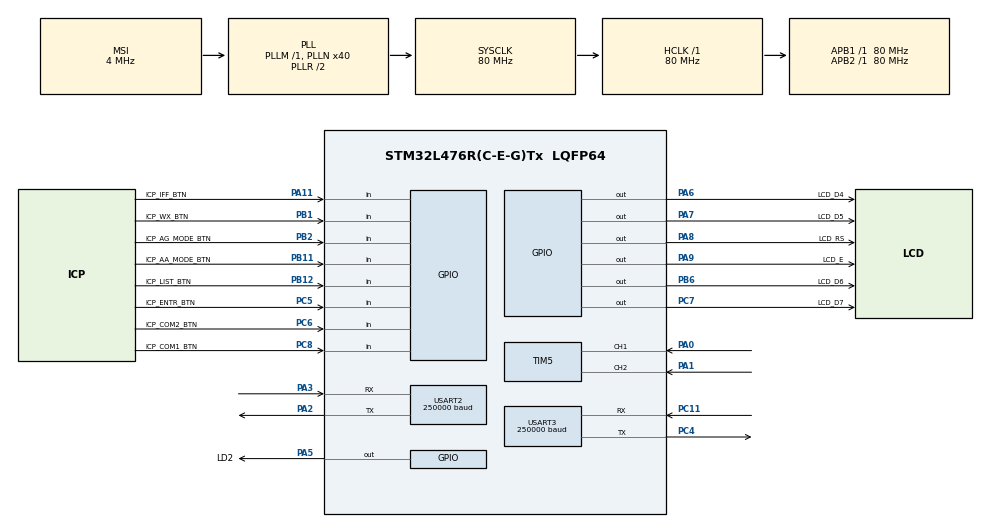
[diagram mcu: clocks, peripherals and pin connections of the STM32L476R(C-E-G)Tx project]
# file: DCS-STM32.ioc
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Mcu.Family=STM32L4
Mcu.Name=STM32L476R(C-E-G)Tx
Mcu.Package=LQFP64
NVIC.PriorityGroup=NVIC_PRIORITYGROUP_4
NVIC.USART2_IRQn=true\:0\:0\:false\:false\:true\:true\:true\:true
PA0.Signal=S_TIM5_CH1
PA1.Signal=S_TIM5_CH2
PA11.GPIO_Label=ICP_IFF_BTN
PA11.GPIO_PuPd=GPIO_PULLUP
PA11.Signal=GPIO_Input
PA2.Mode=Asynchronous
PA2.Signal=USART2_TX
PA3.Mode=Asynchronous
PA3.Signal=USART2_RX
PA5.GPIO_Label=LD2
PA5.PinState=GPIO_PIN_RESET
PA5.Signal=GPIO_Output
PA6.GPIO_Label=LCD_D4
PA6.Signal=GPIO_Output
PA7.GPIO_Label=LCD_D5
PA7.Signal=GPIO_Output
PA8.GPIO_Label=LCD_RS
PA8.Signal=GPIO_Output
PA9.GPIO_Label=LCD_E
PA9.Signal=GPIO_Output
PB1.GPIO_Label=ICP_WX_BTN
PB1.GPIO_PuPd=GPIO_PULLUP
PB1.Signal=GPIO_Input
PB11.GPIO_Label=ICP_AA_MODE_BTN
PB11.GPIO_PuPd=GPIO_PULLUP
PB11.Signal=GPIO_Input
PB12.GPIO_Label=ICP_LIST_BTN
PB12.GPIO_PuPd=GPIO_PULLUP
PB12.Signal=GPIO_Input
PB2.GPIO_Label=ICP_AG_MODE_BTN
PB2.GPIO_PuPd=GPIO_PULLUP
PB2.Signal=GPIO_Input
PB6.GPIO_Label=LCD_D6
PB6.Signal=GPIO_Output
PC11.Mode=Asynchronous
PC11.Signal=USART3_RX
PC4.Mode=Asynchronous
PC4.Signal=USART3_TX
PC5.GPIO_Label=ICP_ENTR_BTN
PC5.GPIO_PuPd=GPIO_PULLUP
PC5.Signal=GPIO_Input
PC6.GPIO_Label=ICP_COM2_BTN
PC6.GPIO_PuPd=GPIO_PULLUP
PC6.Signal=GPIO_Input
PC7.GPIO_Label=LCD_D7
PC7.Signal=GPIO_Output
PC8.GPIO_Label=ICP_COM1_BTN
PC8.GPIO_PuPd=GPIO_PULLUP
PC8.Signal=GPIO_Input
ProjectManager.HeapSize=0x200
ProjectManager.StackSize=0x400
ProjectManager.TargetToolchain=STM32CubeIDE
RCC.ADCFreq_Value=16000000
RCC.AHBFreq_Value=80000000
RCC.APB1Freq_Value=80000000
RCC.APB1TimFreq_Value=80000000
RCC.APB2Freq_Value=80000000
RCC.APB2TimFreq_Value=80000000
RCC.CortexFreq_Value=80000000
RCC.HCLKFreq_Value=80000000
RCC.HSE_VALUE=8000000
RCC.HSI_VALUE=16000000
RCC.LSE_VALUE=32768
RCC.MSI_VALUE=4000000
RCC.PLLN=40
RCC.SYSCLKFreq_VALUE=80000000
RCC.SYSCLKSource=RCC_SYSCLKSOURCE_PLLCLK
RCC.USBFreq_Value=16000000
RCC.VCOOutputFreq_Value=160000000
SH.S_TIM5_CH1.0=TIM5_CH1,Encoder_Interface
SH.S_TIM5_CH2.0=TIM5_CH2,Encoder_Interface
TIM3.Prescaler=79
USART2.BaudRate=250000
USART2.OverrunDisableParam=ADVFEATURE_OVERRUN_DISABLE
USART2.VirtualMode-Asynchronous=VM_ASYNC
USART3.BaudRate=250000
USART3.OverrunDisableParam=ADVFEATURE_OVERRUN_DISABLE
USART3.VirtualMode-Asynchronous=VM_ASYNC
VP_TIM3_VS_ClockSourceINT.Mode=Internal
board=custom

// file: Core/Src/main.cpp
/* USER CODE BEGIN Header */
/**
 ******************************************************************************
 * @file           : main.cpp
 * @brief          : Main program body
 ******************************************************************************
 * @attention
 *
 * Copyright (c) 2023 STMicroelectronics.
 * All rights reserved.
 *
 * This software is licensed under terms that can be found in the LICENSE file
 * in the root directory of this software component.
 * If no LICENSE file comes with this software, it is provided AS-IS.
 *
 ******************************************************************************
 */
/* USER CODE END Header */
#include "main.h"
#include "tim.h"
#include "usart.h"
#include "gpio.h"

/* USER CODE BEGIN Includes */
#include "DcsBios.h"
#include "LCD_HD44780.h"
#include <string.h>
#include <time.h>
/* USER CODE END Includes */

void SystemClock_Config(void);

/* USER CODE BEGIN 0 */
extern "C" {
int __io_putchar(int ch) {
	if (ch == '\n') {
		__io_putchar('\r');
	}

	HAL_UART_Transmit(&huart3, (uint8_t*) &ch, 1, HAL_MAX_DELAY);

	return 1;
}
int _write(int file, char *ptr, int len) {
	return __io_putchar(*ptr);
}
}
void onIcpCom1BtnChange(unsigned int newValue) {
	HAL_GPIO_TogglePin(LD2_GPIO_Port, LD2_Pin);
}
void onClockCurrtimeHChange(unsigned int newValue) {

	//TODO: poprawna konwersja czasu z sekund na HH:MM:SS
	/*time_t currentTime = newValue;
	struct tm ts;

	//22513 = 12:07:33
	// Format time, "ddd yyyy-mm-dd hh:mm:ss zzz"
	ts = *localtime(&currentTime);
	//strftime(buf, sizeof(buf), "%a %Y-%m-%d", &ts);
	LCD_Cls();
	//LCD_Locate(0, 0);
	//LCD_String(buf);
	//strftime(buf, sizeof(buf), "%H:%M:%S", &ts);
	 */
	char buf[5] = {0};
	itoa(newValue,buf,10);
	LCD_Locate(0, 0);
	LCD_String(buf);

}
/* USER CODE END 0 */

int main(void) {

	/* MCU Configuration--------------------------------------------------------*/

	/* Reset of all peripherals, Initializes the Flash interface and the Systick. */
	HAL_Init();

	/* Configure the system clock */
	SystemClock_Config();

	/* Initialize all configured peripherals */
	MX_GPIO_Init();
	MX_USART2_UART_Init();
	MX_USART3_UART_Init();
	MX_TIM5_Init();
	MX_TIM3_Init();
	/* USER CODE BEGIN 2 */
	HAL_TIM_Base_Start(&htim3);
	HAL_TIM_Encoder_Start(&htim5, TIM_CHANNEL_ALL);

	// Inicjalizacja buttonow DCS
	DcsBios::Switch2Pos icpCom1Btn("ICP_COM1_BTN", ICP_COM1_BTN_GPIO_Port,
	ICP_COM1_BTN_Pin);
	DcsBios::Switch2Pos icpCom2Btn("ICP_COM2_BTN", ICP_COM2_BTN_GPIO_Port,
	ICP_COM2_BTN_Pin);
	DcsBios::Switch2Pos icpEntrBtn("ICP_ENTR_BTN", ICP_ENTR_BTN_GPIO_Port,
	ICP_ENTR_BTN_Pin);
	DcsBios::Switch2Pos icpIffBtn("ICP_IFF_BTN", ICP_IFF_BTN_GPIO_Port,
	ICP_IFF_BTN_Pin);
	DcsBios::Switch2Pos icpWxBtn("ICP_WX_BTN", ICP_WX_BTN_GPIO_Port,
	ICP_WX_BTN_Pin);
	DcsBios::Switch2Pos icpListBtn("ICP_LIST_BTN", ICP_LIST_BTN_GPIO_Port,
	ICP_LIST_BTN_Pin);
	DcsBios::Switch2Pos icpAaModeBtn("ICP_AA_MODE_BTN",
	ICP_AA_MODE_BTN_GPIO_Port, ICP_AA_MODE_BTN_Pin);
	DcsBios::Switch2Pos icpAgModeBtn("ICP_AG_MODE_BTN",
	ICP_AG_MODE_BTN_GPIO_Port, ICP_AG_MODE_BTN_Pin);

	// Enkoder
	DcsBios::RotaryEncoder icpRasterBrtKnb("ICP_RASTER_BRT_KNB", "-3200", "+3200", &htim5);

	// LED
	DcsBios::LED icpCom1BtnLed(0x4426, 0x0020, LD2_GPIO_Port, LD2_Pin);

	// Callback na zmiane czasu - przychodzi z DCS
	DcsBios::IntegerBuffer clockCurrtimeHBuffer(0x44f8, 0xffff, 0, onClockCurrtimeHChange);

	//Debugowe rzeczy
	const char *usartTest = "HAL_UART_Transmit: Hello. USART2 TEST...\r\n";
	const char *usartTest2 = "printf: Hello. USART3 TEST...\r\n";
	HAL_UART_Transmit(&huart2, (uint8_t*) usartTest, strlen(usartTest),	HAL_MAX_DELAY);
	printf(usartTest2);

	// Inicjalizacja LCD oraz DCSBiosu
	LCD_Init();
	DcsBios::setup(&huart2, &huart3); //UART2 to Serial po kablu, UART3 to serial na pinach PC4 i PC11
	/* USER CODE END 2 */

	/* Infinite loop */
	/* USER CODE BEGIN WHILE */
	// Test ekranu
	LCD_Cls();
	LCD_Locate(0, 0);
	LCD_String("DCS-BIOS");
	HAL_Delay(1000);
	LCD_Locate(0, 1);
	LCD_String("GordonPeak mode");

	while (1)
	{
		/* USER CODE END WHILE */

		/* USER CODE BEGIN 3 */
		DcsBios::loop();
	}
	/* USER CODE END 3 */
}

void SystemClock_Config(void) {
	RCC_OscInitTypeDef RCC_OscInitStruct = { 0 };
	RCC_ClkInitTypeDef RCC_ClkInitStruct = { 0 };

	/** Configure the main internal regulator output voltage
	 */
	if (HAL_PWREx_ControlVoltageScaling(PWR_REGULATOR_VOLTAGE_SCALE1)
			!= HAL_OK) {
		Error_Handler();
	}

	/** Initializes the RCC Oscillators according to the specified parameters
	 * in the RCC_OscInitTypeDef structure.
	 */
	RCC_OscInitStruct.OscillatorType = RCC_OSCILLATORTYPE_MSI;
	RCC_OscInitStruct.MSIState = RCC_MSI_ON;
	RCC_OscInitStruct.MSICalibrationValue = 0;
	RCC_OscInitStruct.MSIClockRange = RCC_MSIRANGE_6;
	RCC_OscInitStruct.PLL.PLLState = RCC_PLL_ON;
	RCC_OscInitStruct.PLL.PLLSource = RCC_PLLSOURCE_MSI;
	RCC_OscInitStruct.PLL.PLLM = 1;
	RCC_OscInitStruct.PLL.PLLN = 40;
	RCC_OscInitStruct.PLL.PLLP = RCC_PLLP_DIV7;
	RCC_OscInitStruct.PLL.PLLQ = RCC_PLLQ_DIV2;
	RCC_OscInitStruct.PLL.PLLR = RCC_PLLR_DIV2;
	if (HAL_RCC_OscConfig(&RCC_OscInitStruct) != HAL_OK) {
		Error_Handler();
	}

	/** Initializes the CPU, AHB and APB buses clocks
	 */
	RCC_ClkInitStruct.ClockType = RCC_CLOCKTYPE_HCLK | RCC_CLOCKTYPE_SYSCLK
			| RCC_CLOCKTYPE_PCLK1 | RCC_CLOCKTYPE_PCLK2;
	RCC_ClkInitStruct.SYSCLKSource = RCC_SYSCLKSOURCE_PLLCLK;
	RCC_ClkInitStruct.AHBCLKDivider = RCC_SYSCLK_DIV1;
	RCC_ClkInitStruct.APB1CLKDivider = RCC_HCLK_DIV1;
	RCC_ClkInitStruct.APB2CLKDivider = RCC_HCLK_DIV1;

	if (HAL_RCC_ClockConfig(&RCC_ClkInitStruct, FLASH_LATENCY_4) != HAL_OK) {
		Error_Handler();
	}
}

void Error_Handler(void) {
	__disable_irq();
	while (1) {
	}
}
